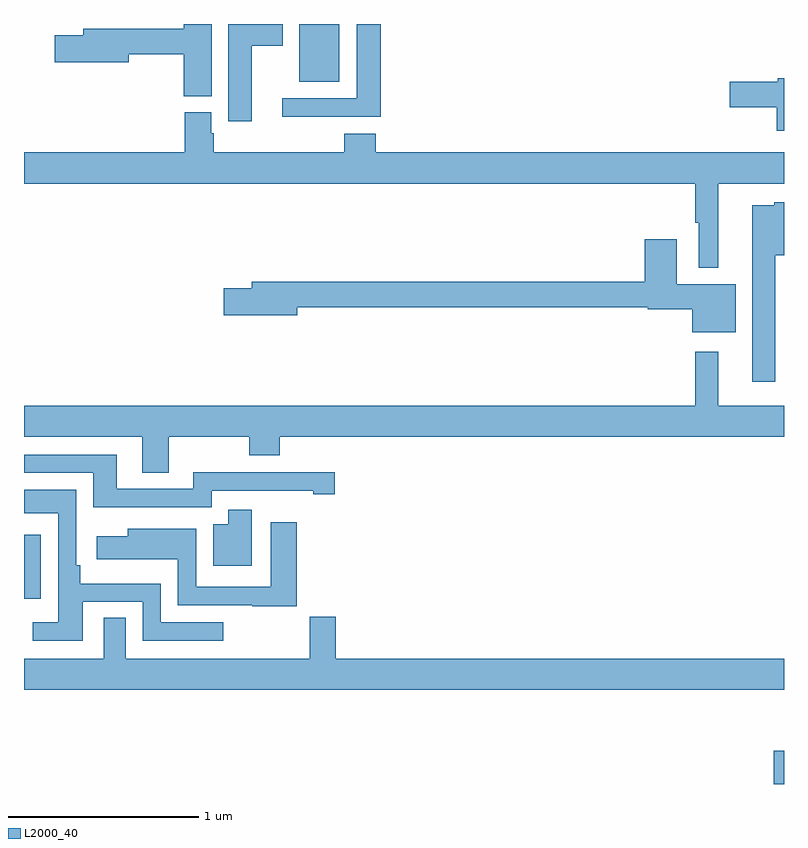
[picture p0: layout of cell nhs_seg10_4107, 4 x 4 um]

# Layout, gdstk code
import gdstk
lib = gdstk.Library(unit=1e-6, precision=1e-09)
def R(c, l, rs):  # rectangles x0, y0, x1, y1
    for r in rs: c.add(gdstk.rectangle(r[:2], r[2:], *l))
def P(c, l, *ps):  # polygons
    for p in ps: c.add(gdstk.Polygon(p, *l))
L2000_40 = (2000, 40)

nhs_seg10_4107 = lib.new_cell('nhs_seg10_4107')
R(nhs_seg10_4107, L2000_40, [(342.947,1286.5,343,1286.674), (339,1287.474,339.088,1287.811), (340.448,1290.197,340.66,1290.5)])
P(nhs_seg10_4107, L2000_40, [(340.877,1290.5),(340.751,1290.5),(340.751,1290.108),(340.359,1290.108),(340.359,1290.011),(340.877,1290.011)],
  [(339.988,1290.5),(339.842,1290.5),(339.842,1290.476),(339.311,1290.476),(339.311,1290.44),(339.162,1290.44),(339.162,1290.298),(339.55,1290.298),(339.55,1290.34),(339.842,1290.34),(339.842,1290.121),(339.988,1290.121)],
  [(340.198,1290.386),(340.363,1290.386),(340.363,1290.5),(340.076,1290.5),(340.076,1289.988),(340.198,1289.988)],
  [(343,1290.215),(342.966,1290.215),(342.966,1290.197),(342.714,1290.197),(342.714,1290.062),(342.962,1290.062),(342.962,1289.939),(343,1289.939)],
  [(342.655,1289.66),(343,1289.66),(343,1289.824),(340.85,1289.824),(340.85,1289.923),(340.685,1289.923),(340.685,1289.824),(339.998,1289.824),(339.998,1289.925),(339.985,1289.925),(339.985,1290.036),(339.845,1290.036),(339.845,1289.824),(339,1289.824),(339,1289.66),(342.534,1289.66),(342.534,1289.455),(342.551,1289.455),(342.551,1289.216),(342.655,1289.216)],
  [(342.955,1289.282),(343,1289.282),(343,1289.563),(342.948,1289.563),(342.948,1289.545),(342.833,1289.545),(342.833,1288.617),(342.955,1288.617)],
  [(342.745,1289.131),(342.436,1289.131),(342.436,1289.368),(342.266,1289.368),(342.266,1289.144),(340.199,1289.144),(340.199,1289.108),(340.05,1289.108),(340.05,1288.966),(340.438,1288.966),(340.438,1289.008),(342.282,1289.008),(342.282,1289),(342.518,1289),(342.518,1288.877),(342.745,1288.877)],
  [(339.763,1288.328),(340.186,1288.328),(340.186,1288.229),(340.346,1288.229),(340.346,1288.328),(343,1288.328),(343,1288.492),(342.655,1288.492),(342.655,1288.774),(342.534,1288.774),(342.534,1288.492),(339,1288.492),(339,1288.328),(339.623,1288.328),(339.623,1288.138),(339.763,1288.138)],
  [(339.987,1288.044),(340.294,1288.044),(340.294,1288.043),(340.523,1288.043),(340.523,1288.024),(340.636,1288.024),(340.636,1288.14),(340.097,1288.14),(340.097,1288.142),(339.891,1288.142),(339.891,1288.053),(339.487,1288.053),(339.487,1288.233),(339,1288.233),(339,1288.137),(339.365,1288.137),(339.365,1287.957),(339.987,1287.957)],
  [(339.31,1287.459),(339.624,1287.459),(339.624,1287.255),(340.048,1287.255),(340.048,1287.351),(339.72,1287.351),(339.72,1287.555),(339.296,1287.555),(339.296,1287.652),(339.276,1287.652),(339.276,1288.048),(339,1288.048),(339,1287.926),(339.18,1287.926),(339.18,1287.351),(339.045,1287.351),(339.045,1287.255),(339.31,1287.255)],
  [(340.198,1287.943),(340.076,1287.943),(340.076,1287.868),(339.995,1287.868),(339.995,1287.65),(340.198,1287.65)],
  [(340.436,1287.877),(340.298,1287.877),(340.298,1287.537),(339.906,1287.537),(339.906,1287.844),(339.545,1287.844),(339.545,1287.805),(339.384,1287.805),(339.384,1287.683),(339.81,1287.683),(339.81,1287.441),(340.202,1287.441),(340.202,1287.436),(340.436,1287.436)],
  [(343,1287.16),(340.64,1287.16),(340.64,1287.379),(340.504,1287.379),(340.504,1287.16),(339.535,1287.16),(339.535,1287.374),(339.419,1287.374),(339.419,1287.16),(339,1287.16),(339,1286.996),(343,1286.996)])

lib.write_gds('nhs_seg10_4107.gds')
